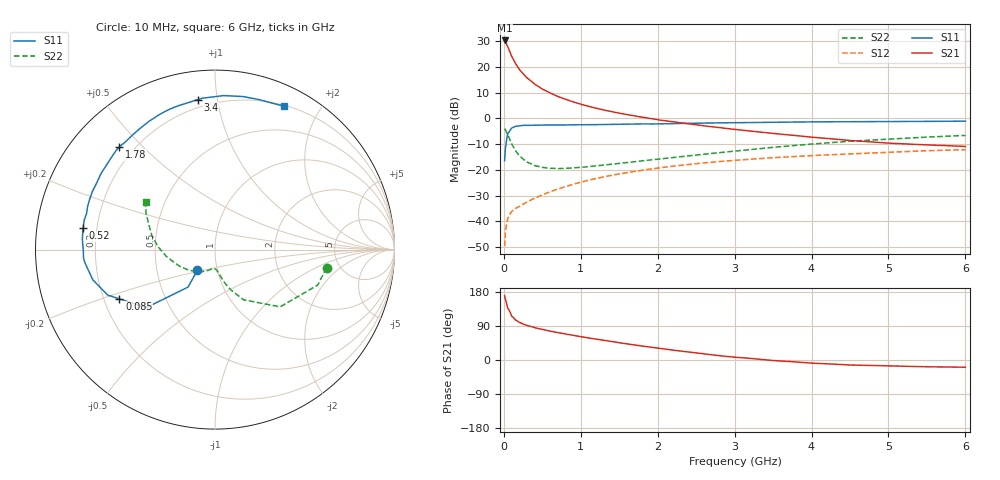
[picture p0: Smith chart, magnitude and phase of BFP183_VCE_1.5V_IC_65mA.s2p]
! Infineon Technologies  Discrete & RF Semiconductors
! BFP183
! VCE = 1.5 V,  IC =  65 mA
! Common Emitter S-Parameters:  Jan 2016
# GHz  S  MA  R  50
!  f  S11  S21  S12  S22
! GHz  MAG  ANG  MAG  ANG  MAG  ANG  MAG  ANG
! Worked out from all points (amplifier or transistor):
!   210 points, 10 MHz to 6 GHz, reference 50 ohm
!   highest |S21| = 30.3 dB at 10 MHz (marker M1)
!   |S21| within 3 dB of that: start of sweep to 59.92 MHz
!   unconditionally stable (mu >= 1): start of sweep to 45.83 MHz; 117.2 MHz to end of sweep
!   at 185 MHz: K = 1.23, MAG = 24.2 dB, |S12| = -34.5 dB
!   at 1.52 GHz: K = 1.93, MAG = 6.2 dB, |S12| = -21.5 dB
!   at 6 GHz: K = 1.54, MAG = -3.7 dB, |S12| = -12.1 dB
!   S11 on the Smith chart (normalised r, x): 10 MHz: 0.80, -0.19; 85 MHz: 0.26, -0.23; 520 MHz: 0.15, +0.08; 1.78 GHz: 0.15, +0.43; 3.4 GHz: 0.15, +0.88; 6 GHz: 0.21, +1.57
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0.01  0.1514 -130.4  32.75 169.9  0.0033 57.1  0.6296 -9.3
0.02  0.2571 -125.7  31.49 160.2  0.0062 61.4  0.6057 -19.0
0.05  0.4997 -139.8  25.11 136.9  0.0113 54.0  0.4835 -41.3
0.085  0.5992 -152.8  18.66 124.5  0.0142 45.4  0.3657 -52.9
0.1  0.6491 -157.0  16.32 116.4  0.0155 42.7  0.3222 -60.3
0.15  0.7012 -166.1  11.72 105.8  0.0179 43.3  0.2373 -69.1
0.2  0.7187 -171.8  9.041 99.3  0.0194 45.1  0.1898 -74.1
0.26  0.734 -176.5  7.082 94.0  0.022 47.9  0.1584 -77.5
0.3  0.7334 -179.3  6.141 91.1  0.0238 49.9  0.1427 -79.5
0.4  0.741 175.8  4.644 85.1  0.0282 55.1  0.1218 -83.2
0.52  0.7444 170.8  3.6 79.7  0.0334 57.7  0.1111 -87.0
0.7  0.7431 164.3  2.669 72.2  0.0424 60.2  0.1062 -92.3
0.8  0.7492 161.4  2.351 68.6  0.0473 60.6  0.1069 -95.0
1.02  0.7556 154.1  1.854 60.9  0.0586 61.2  0.1127 -102.0
1.3  0.7635 146.3  1.458 51.9  0.073 59.7  0.1247 -110.0
1.78  0.782 133.0  1.069 37.3  0.0976 56.0  0.1492 -124.6
2.02  0.7849 126.8  0.933 30.8  0.1095 53.5  0.1628 -131.3
3.1  0.8292 102.3  0.591 5.9  0.1572 40.8  0.2393 -162.9
3.4  0.8409 96.6  0.531 0.6  0.1688 37.4  0.2651 -170.1
4.1  0.8598 85.4  0.421 -9.1  0.1929 29.2  0.326 174.9
5.1  0.871 73.1  0.327 -15.9  0.2223 19.5  0.4034 157.4
6  0.8862 64.3  0.286 -19.0  0.2473 9.5  0.4678 145.8
